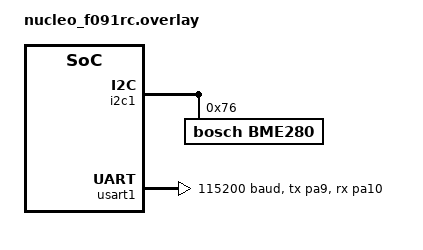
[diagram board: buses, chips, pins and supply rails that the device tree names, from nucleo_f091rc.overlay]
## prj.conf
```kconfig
#hoi
CONFIG_I2C=y
CONFIG_SENSOR=y
CONFIG_BME280=y
CONFIG_SERIAL=y
CONFIG_UART_CONSOLE=y
CONFIG_UART_INTERRUPT_DRIVEN=y
CONFIG_LOG=y
CONFIG_LOG_PRINTK=ys
CONFIG_THREAD_NAME=y
CONFIG_MAIN_STACK_SIZE=2048
CONFIG_SENSOR_ASYNC_API=y
CONFIG_BME280=y
CONFIG_UART_STM32=y
CONFIG_WIFI=y
```

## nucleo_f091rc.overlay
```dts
&i2c1 {
    status = "okay";
    bme280@76 {
        compatible = "bosch,bme280";
        reg = <0x76>;  // Make sure this matches your sensor's I2C address
        label = "BME280";
    };
};

&usart1 {

	status = "okay";
    compatible = "st,stm32-usart", "st,stm32-uart";
    pinctrl-0 = <&usart1_tx_pa9 &usart1_rx_pa10>; // TX on PB6, RX on PB7
    pinctrl-names = "default"; // Default pin control setting
    current-speed = <115200>; // Baud rate
    
};
```

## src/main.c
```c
#include <zephyr/kernel.h>
#include <zephyr/device.h>
#include <zephyr/drivers/uart.h>
#include <zephyr/drivers/sensor.h>
#include <string.h>
#include <stdio.h>

#define UART_DEVICE_NODE DT_NODELABEL(usart1)

// BME280 Sensor
const struct device *const bme280_dev = DEVICE_DT_GET_ANY(bosch_bme280);

// ESP8266 Module
static const struct device *const uart_dev = DEVICE_DT_GET(UART_DEVICE_NODE);

volatile int32_t temperature, humidity, pressure;
K_MUTEX_DEFINE(temp_mutex);


void print_uart(const char *buf)
{
    int msg_len = strlen(buf);
    for (int i = 0; i < msg_len; i++) {
        uart_poll_out(uart_dev, buf[i]);
    }
}

void read_bme280_data(void)
{
    struct sensor_value temp, hum, press;

    if (sensor_sample_fetch(bme280_dev) < 0) {
        printk("Failed to fetch data from BME280 sensor\n");
        return;
    }

    // Retrieve temperature, humidity, and pressure values
    sensor_channel_get(bme280_dev, SENSOR_CHAN_AMBIENT_TEMP, &temp);
    sensor_channel_get(bme280_dev, SENSOR_CHAN_HUMIDITY, &hum);
    sensor_channel_get(bme280_dev, SENSOR_CHAN_PRESS, &press) * 1000; // convert to milliPascal

    // Convert + store values
    k_mutex_lock(&temp_mutex, K_FOREVER);
    temperature = sensor_value_to_double(&temp) ;
    humidity = sensor_value_to_double(&hum) ;
    pressure = sensor_value_to_double(&press);
    k_mutex_unlock(&temp_mutex);
}

// Function to send sensor data to the web server
void send_sensor_data(void)
{
    char data_to_send[100];
    const char *uid = "Poepje";  // UID

    // Prepare sensor data string 
    k_mutex_lock(&temp_mutex, K_FOREVER);
    sprintf(data_to_send, "Temp=%d °C&Humidity=%d %&Pressure=%d mPa&UID=%s", 
            temperature, humidity, pressure, uid);
    k_mutex_unlock(&temp_mutex);

    // Prepare HTTP request headers
    char http_request[200];
    sprintf(http_request, 
        "POST /Weerstation.php HTTP/1.1\r\n"
        "Host: 195.201.2.165\r\n"
        "Connection: keep-alive\r\n"  // Keep connection alive after request
        "Content-Type: application/x-www-form-urlencoded\r\n"
        "Content-Length: %zu\r\n\r\n"
        "%s",
        strlen(data_to_send),  // Content length
        data_to_send);         // Actual data to send

    // Calculate length of HTTP request
    print_uart("AT+CIPSEND=");
    char send_length[10];
    sprintf(send_length, "%zu\r\n", strlen(http_request));
    print_uart(send_length);

    k_sleep(K_MSEC(2000));

    // Send HTTP request
    print_uart(http_request);
}

void main(void)
{

    // Set to command mode (non-transparent mode)
    print_uart("AT+CIPMODE=0\r\n");
    k_sleep(K_MSEC(500));

    // Connect to Wi-Fi 
    print_uart("AT+CWJAP=\"//yourWifiDomain\",\"yourWifiPassword\"\r\n");
    k_sleep(K_MSEC(11000));

    // Start TCP connection
    print_uart("AT+CIPSTART=\"TCP\",\"//yourwebserver\",80\r\n"); // correct webserver
    k_sleep(K_MSEC(6000));

    while (1) {
        read_bme280_data();
        send_sensor_data();
        k_sleep(K_MSEC(58000)); 
    }
}
```
